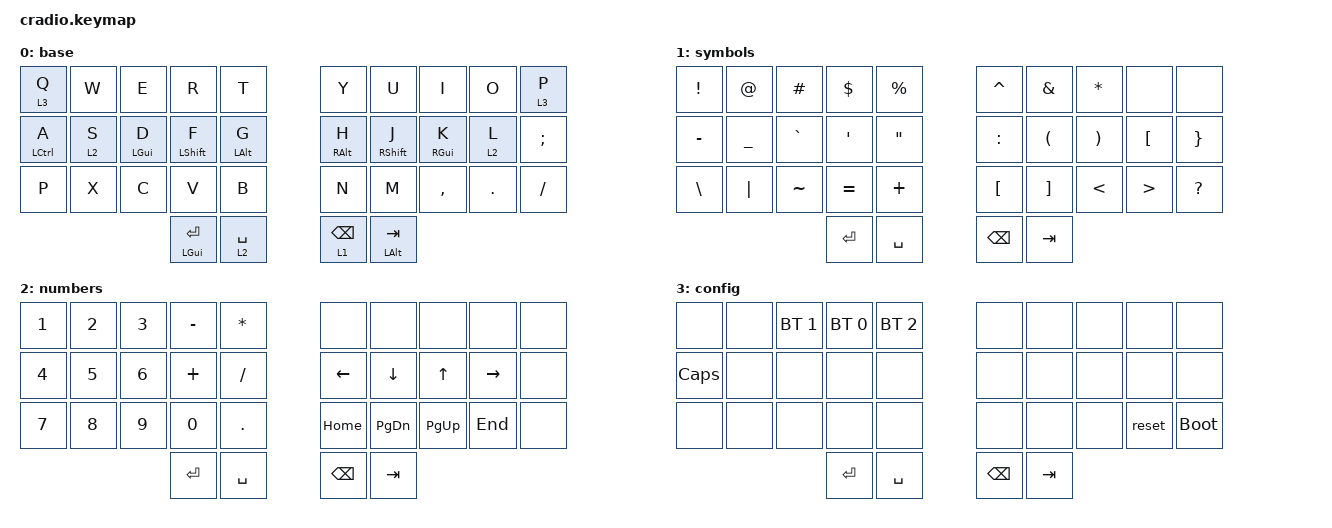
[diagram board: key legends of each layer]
#include <behaviors.dtsi>
#include <dt-bindings/zmk/bt.h>
#include <dt-bindings/zmk/keys.h>

&mt {
    tapping-term-ms = <200>;
    quick-tap-ms = <190>;
};

&lt {
    tapping-term-ms = <200>;
    quick-tap-ms = <190>;
};

/ {
    keymap {
        compatible = "zmk,keymap";
        label = "dcai's 34 keys keymap";

        base {
            bindings = <
//+-----------+---------+-----------+------------+-----------+/**/+-----------+------------+-----------+--------+---------------+
   &lt 3 Q     &kp W     &kp E       &kp R        &kp T       /**/ &kp Y       &kp U        &kp I       &kp O    &lt 3 P
//+-----------+---------+-----------+------------+-----------+/**/+-----------+------------+-----------+--------+---------------+
   &ht LCTRL A &lt 2 S   &ht LGUI D  &ht LSHFT F  &ht LALT G  /**/ &ht RALT H  &ht RSHFT J  &ht RGUI K  &lt 2 L  &kp SEMI
//+-----------+---------+-----------+------------+-----------+/**/+-----------+------------+-----------+--------+---------------+
   &kp P       &kp X     &kp C       &kp V        &kp B       /**/ &kp N       &kp M        &kp COMMA   &kp DOT  &kp SLASH
//+-----------+---------+-----------+------------+-----------+/**/+-----------+------------+-----------+--------+---------------+
                                     &ht LGUI RET &lt 2 SPACE /**/ &lt 1 BSPC  &ht LALT TAB
                                   //+-----------+-----------+/**/+-----------+------------+
            >;
        };

        symbols {
            bindings = <
//+---------+---------+----------+---------+----------+/**/+----------+----------+--------+--------+----------+
   &kp EXCL  &kp AT    &kp HASH   &kp DLLR  &kp PRCNT  /**/ &kp CARET  &kp AMPS   &kp STAR &none    &none
//+---------+---------+----------+---------+----------+/**/+----------+----------+--------+--------+----------+
   &kp MINUS &kp UNDER &kp GRAVE  &kp SQT   &kp DQT    /**/ &kp COLON  &kp LPAR   &kp RPAR &kp LBKT &kp RBRC
//+---------+---------+----------+---------+----------+/**/+----------+----------+--------+--------+----------+
   &kp BSLH  &kp PIPE  &kp TILDE  &kp EQUAL &kp PLUS   /**/ &kp LBKT   &kp RBKT   &kp LT   &kp GT   &kp QMARK
//+---------+---------+----------+---------+----------+/**/+----------+----------+--------+--------+----------+
                                  &kp RET   &kp SPACE  /**/ &kp BSPC   &kp TAB
                               //+---------+----------+/**/+----------+----------+
            >;
        };

        numbers {
            bindings = <
//+-------+-------+-------+----------+----------+/**/+---------+---------+--------+----------+-------+
   &kp N1  &kp N2  &kp N3  &kp MINUS  &kp STAR   /**/ &none     &none     &none     &none     &none
//+-------+-------+-------+----------+----------+/**/+---------+---------+--------+----------+-------+
   &kp N4  &kp N5  &kp N6  &kp PLUS   &kp SLASH  /**/ &kp LEFT  &kp DOWN  &kp UP    &kp RIGHT &none
//+-------+-------+-------+----------+----------+/**/+---------+---------+--------+----------+-------+
   &kp N7  &kp N8  &kp N9  &kp N0     &kp DOT    /**/ &kp HOME  &kp PG_DN &kp PG_UP &kp END   &none
//+-------+-------+-------+----------+----------+/**/+---------+---------+--------+----------+-------+
                           &kp RET    &kp SPACE  /**/ &kp BSPC  &kp TAB
                        //+----------+----------+/**/+---------+---------+
            >;
        };

        config {
            bindings = <
//+--------+-------+------------+-------------+--------------+/**/+--------+-------+-------+-------+------------+
   &none    &none   &bt BT_SEL 1  &bt BT_SEL 0  &bt BT_SEL 2  /**/ &none    &none   &none   &none   &none
//+--------+-------+------------+-------------+--------------+/**/+--------+-------+-------+-------+------------+
   &kp CAPS &none   &none         &none         &none         /**/ &none    &none   &none   &none   &none
//+--------+-------+------------+-------------+--------------+/**/+--------+-------+-------+-------+------------+
   &none    &none   &none         &none         &none         /**/ &none    &none   &none   &reset  &bootloader
//+--------+-------+------------+-------------+--------------+/**/+--------+-------+-------+-------+------------+
                                  &kp RET       &kp SPACE     /**/ &kp BSPC &kp TAB
                               //+------------+--------------+/**/+--------+-------+
            >;
        };
    };

    behaviors {
        mylt: layer_tap {
            label = "LAYER_TAP";
            compatible = "zmk,behavior-hold-tap";
            #binding-cells = <2>;
            flavor = "tap-preferred";
            tapping-term-ms = <200>;
            quick-tap-ms = <190>;
            bindings = <&mo>, <&kp>;
            // global-quick-tap;
        };
        ht: hold_tap {
            label = "TAP_HOLD";
            compatible = "zmk,behavior-hold-tap";
            #binding-cells = <2>;
            flavor = "tap-preferred";
            tapping-term-ms = <200>;
            quick-tap-ms = <190>;
            bindings = <&kp>, <&kp>;
            // global-quick-tap;
        };
    };

    combos {
        compatible = "zmk,combos";

        combo_esc {
            timeout-ms = <50>;
            key-positions = <0 1>;
            bindings = <&kp ESC>;
        };

        combo_vol_down {
            bindings = <&kp C_VOL_DN>;
            key-positions = <28 27>;
        };

        combo_vol_up {
            bindings = <&kp C_VOL_UP>;
            key-positions = <29 28>;
        };

        combo_bspc {
            bindings = <&kp BACKSPACE>;
            key-positions = <3 4>;
        };
    };

    macros {
        chrome_profile: chrome_profile {
            compatible = "zmk,behavior-macro";
            label = "app";
            #binding-cells = <0>;
            bindings =
                <&macro_press>,
                <&kp LGUI>,
                <&macro_tap>,
                <&kp GRAVE>,
                <&macro_release>,
                <&kp LEFT_GUI>;
        };
    };
};
